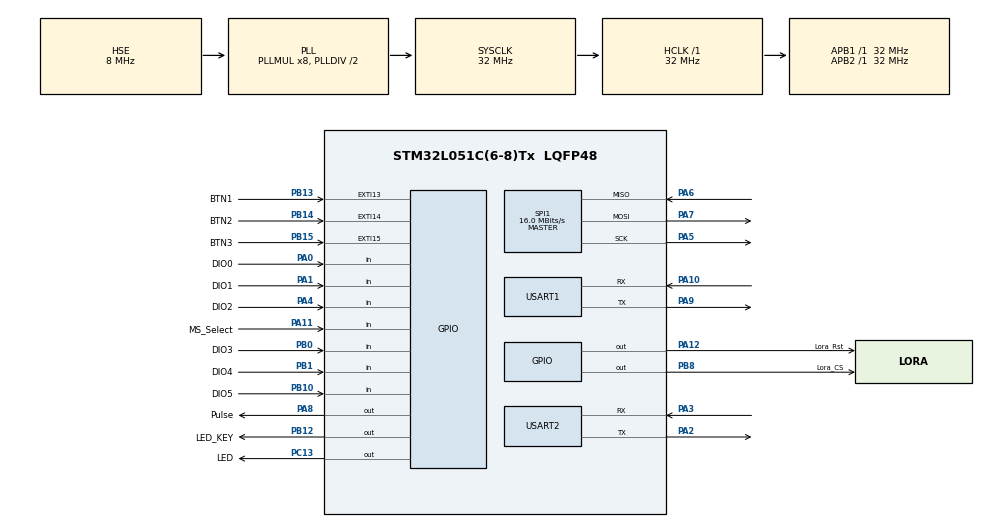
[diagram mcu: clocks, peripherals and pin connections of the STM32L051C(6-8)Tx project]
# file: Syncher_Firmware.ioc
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Mcu.Family=STM32L0
Mcu.Name=STM32L051C(6-8)Tx
Mcu.Package=LQFP48
NVIC.EXTI4_15_IRQn=true\:0\:0\:false\:false\:true\:true\:true\:true
NVIC.TIM21_IRQn=true\:0\:0\:true\:false\:true\:false\:true\:true
NVIC.TIM22_IRQn=true\:0\:0\:false\:false\:true\:true\:true\:true
NVIC.TIM2_IRQn=true\:1\:0\:true\:false\:true\:true\:true\:true
NVIC.TimeBase=TIM21_IRQn
NVIC.TimeBaseIP=TIM21
PA0.GPIO_Label=DIO0
PA0.Signal=GPIO_Input
PA1.GPIO_Label=DIO1
PA1.Signal=GPIO_Input
PA10.Mode=Asynchronous
PA10.Signal=USART1_RX
PA11.GPIO_Label=MS_Select
PA11.GPIO_PuPd=GPIO_PULLUP
PA11.Signal=GPIO_Input
PA12.GPIO_Label=Lora_Rst
PA12.GPIO_PuPd=GPIO_PULLUP
PA12.GPIO_Speed=GPIO_SPEED_FREQ_VERY_HIGH
PA12.PinState=GPIO_PIN_SET
PA12.Signal=GPIO_Output
PA13.Mode=Serial_Wire
PA13.Signal=SYS_SWDIO
PA14.Mode=Serial_Wire
PA14.Signal=SYS_SWCLK
PA2.Mode=Asynchronous
PA2.Signal=USART2_TX
PA3.Mode=Asynchronous
PA3.Signal=USART2_RX
PA4.GPIO_Label=DIO2
PA4.Signal=GPIO_Input
PA5.Mode=Full_Duplex_Master
PA5.Signal=SPI1_SCK
PA6.Mode=Full_Duplex_Master
PA6.Signal=SPI1_MISO
PA7.Mode=Full_Duplex_Master
PA7.Signal=SPI1_MOSI
PA8.GPIO_Label=Pulse
PA8.GPIO_ModeDefaultOutputPP=GPIO_MODE_OUTPUT_PP
PA8.GPIO_PuPd=GPIO_PULLUP
PA8.GPIO_Speed=GPIO_SPEED_FREQ_VERY_HIGH
PA8.Signal=GPIO_Output
PA9.Mode=Asynchronous
PA9.Signal=USART1_TX
PB0.GPIO_Label=DIO3
PB0.Signal=GPIO_Input
PB1.GPIO_Label=DIO4
PB1.Signal=GPIO_Input
PB10.GPIO_Label=DIO5
PB10.Signal=GPIO_Input
PB12.GPIO_Label=LED_KEY
PB12.GPIO_PuPd=GPIO_PULLDOWN
PB12.GPIO_Speed=GPIO_SPEED_FREQ_VERY_HIGH
PB12.PinState=GPIO_PIN_RESET
PB12.Signal=GPIO_Output
PB13.GPIO_Label=BTN1
PB13.GPIO_ModeDefaultEXTI=GPIO_MODE_IT_RISING_FALLING
PB13.GPIO_PuPd=GPIO_PULLUP
PB13.Signal=GPXTI13
PB14.GPIO_Label=BTN2
PB14.GPIO_ModeDefaultEXTI=GPIO_MODE_IT_RISING_FALLING
PB14.GPIO_PuPd=GPIO_PULLUP
PB14.Signal=GPXTI14
PB15.GPIO_Label=BTN3
PB15.GPIO_ModeDefaultEXTI=GPIO_MODE_IT_RISING_FALLING
PB15.GPIO_PuPd=GPIO_PULLUP
PB15.Signal=GPXTI15
PB8.GPIO_Label=Lora_CS
PB8.GPIO_PuPd=GPIO_PULLUP
PB8.GPIO_Speed=GPIO_SPEED_FREQ_VERY_HIGH
PB8.PinState=GPIO_PIN_SET
PB8.Signal=GPIO_Output
PC13.GPIO_Label=LED
PC13.Signal=GPIO_Output
PH0-OSC_IN.Mode=HSE-External-Oscillator
PH0-OSC_IN.Signal=RCC_OSC_IN
PH1-OSC_OUT.Mode=HSE-External-Oscillator
PH1-OSC_OUT.Signal=RCC_OSC_OUT
ProjectManager.HeapSize=0x200
ProjectManager.StackSize=0x400
ProjectManager.TargetToolchain=MDK-ARM V5
RCC.AHBFreq_Value=32000000
RCC.APB1Freq_Value=32000000
RCC.APB1TimFreq_Value=32000000
RCC.APB2Freq_Value=32000000
RCC.APB2TimFreq_Value=32000000
RCC.HCLKFreq_Value=32000000
RCC.HSE_VALUE=8000000
RCC.HSI16_VALUE=16000000
RCC.HSI_VALUE=16000000
RCC.LSE_VALUE=32768
RCC.MSI_VALUE=2097000
RCC.PLLMUL=RCC_PLLMUL_8
RCC.PLLSourceVirtual=RCC_PLLSOURCE_HSE
RCC.SYSCLKFreq_VALUE=32000000
RCC.SYSCLKSource=RCC_SYSCLKSOURCE_PLLCLK
RCC.VCOOutputFreq_Value=64000000
SPI1.CalculateBaudRate=16.0 MBits/s
SPI1.Direction=SPI_DIRECTION_2LINES
SPI1.Mode=SPI_MODE_MASTER
SPI1.VirtualType=VM_MASTER
TIM2.AutoReloadPreload=TIM_AUTORELOAD_PRELOAD_DISABLE
TIM2.Period=31999
TIM2.Prescaler=9
TIM22.Period=15999
TIM22.Prescaler=99
USART1.VirtualMode-Asynchronous=VM_ASYNC
USART2.VirtualMode-Asynchronous=VM_ASYNC
VP_SYS_VS_tim21.Mode=TIM21
VP_TIM22_VS_ClockSourceINT.Mode=Internal
VP_TIM2_VS_ClockSourceINT.Mode=Internal
board=custom

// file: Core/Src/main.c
/* USER CODE BEGIN Header */
/**
  ******************************************************************************
  * @file           : main.c
  * @brief          : Main program body
  ******************************************************************************
  * @attention
  *
  * Copyright (c) 2022 STMicroelectronics.
  * All rights reserved.
  *
  * This software is licensed under terms that can be found in the LICENSE file
  * in the root directory of this software component.
  * If no LICENSE file comes with this software, it is provided AS-IS.
  *
  ******************************************************************************
  */
/* USER CODE END Header */
#include "main.h"

/* USER CODE BEGIN Includes */
#include <string.h>
#include <stdint.h>
#include <stdbool.h>
#include "sx127x_driver.h"
#include "stm32l0xx_it.h"
#include <stdlib.h>
#include <string.h>
#include <stdio.h>

/* USER CODE END Includes */

/* USER CODE BEGIN PTD */

typedef enum master_state{
    M_IDLE = 0,
    M_TRIGGING,
    M_DONE,
}MASTER_STATE;

/* USER CODE END PTD */

/* USER CODE BEGIN PD */

// 选择是否自动循环触发
//#define MODE_LOOP
#define LOOP_TIME_MS 2000

#define LEN_TXBUF 128
#define LEN_RXBUF 128

/* USER CODE END PD */

SPI_HandleTypeDef hspi1;

TIM_HandleTypeDef htim2;
TIM_HandleTypeDef htim22;

UART_HandleTypeDef huart1;
UART_HandleTypeDef huart2;

/* USER CODE BEGIN PV */

MASTER_STATE MasterState = M_IDLE;

extern __IO uint32_t uwTick;
uint8_t pulse_cnt = 0;
uint8_t pulse_max = 8;

extern volatile uint32_t uwTick;

volatile uint8_t flag;//���ݽ����ı�־λ������ʱtag=1

u8 txBuf1[LEN_TXBUF];
u8 rxBuf[LEN_RXBUF];

uint16_t Prescal_list[] = {500,1000,2000,5000,10000};

volatile u32 MasterDelayMs = 27;
volatile u32 MasterDelayUs = 50;

extern tRadioDriver g_Radio;

/* USER CODE END PV */

void SystemClock_Config(void);
static void MX_GPIO_Init(void);
static void MX_SPI1_Init(void);
static void MX_USART1_UART_Init(void);
static void MX_USART2_UART_Init(void);
static void MX_TIM22_Init(void);
static void MX_TIM2_Init(void);

/* USER CODE BEGIN PFP */
int Key_timer_cb(void);

/* USER CODE END PFP */

/* USER CODE BEGIN 0 */

//void HAL_UART_RxCpltCallback(UART_HandleTypeDef *huart)
//{
//  /* Prevent unused argument(s) compilation warning */
//  UNUSED(huart);
//	if(huart == &huart1){
//		//HAL_UART_Receive_IT(&huart1, (uint8_t *)rxBuf1, SENSOR_BYTE);
//		read_over = 1;
//	}
////	else if(huart == &huart2){
////		HAL_UART_Transmit(&huart2, (uint8_t *)rxBuf2, strlen(txBuf2), 0xffff);
////		memset(rxBuf2,0, strlen(txBuf1));
////		HAL_UART_Receive_IT(&huart2, (uint8_t *)rxBuf2, 10);
////	}
//}
void delay_0(void){
	u32 i=0;
	u32 j=0;

	for(i=0;i<1000;i++){
		for(j=0;j<1000;j++){
		}
	}
}

void delay_us(u32 time){
	u32 i=0;
	u32 j=0;

	for(i=0;i<time;i++){
		for(j=0;j<1000;j++){
		}
	}
}

void delayMsBySystick(uint32_t timeoutMs){
	uint32_t systickBak,currTick;
	systickBak = GetTick();
	while(1){
		currTick=GetTick();
		if(currTick>=systickBak){
			if(currTick-systickBak>timeoutMs){
				return;
			}
		}else{
			//currTick 溢出
			if(currTick+(~systickBak)>timeoutMs){
				return;
			}
		}
	}
}

void MasterDelayMsAdd(void)
{
    MasterDelayMs++;
}
void MasterDelayMsMinus(void)
{
    if(MasterDelayMs > 0)
    {
        MasterDelayMs--;
    }
}

bool GetMSMode(void)
{
    // M/S mode confirm: read GPIO value
    // GPIO_PIN_SET -> op_mode true -> Master
    return (GPIO_PIN_SET == HAL_GPIO_ReadPin(MS_Select_GPIO_Port, MS_Select_Pin));
}

void SetKeyLED(bool val)
{
    HAL_GPIO_WritePin(LED_KEY_GPIO_Port, LED_KEY_Pin, val?GPIO_PIN_SET:GPIO_PIN_RESET);
}

void toggle_led(void)
{
	HAL_GPIO_TogglePin(LED_GPIO_Port, LED_Pin);
}
void tri_mmwave(void)
{
    int i = 0;

    // 产生�?个正脉冲
//            HAL_GPIO_TogglePin(LED_GPIO_Port, LED_Pin);
	HAL_GPIO_WritePin(Pulse_GPIO_Port, Pulse_Pin,GPIO_PIN_SET);
//    GPIO_TypeDef * GPIOx = Pulse_GPIO_Port;
//    GPIOx->BSRR = Pulse_Pin;

    // 控制高电平时间
//	while(i < 1)
    { //delay
        i = i+1;
        i = i+1;
        i = i+1;
        i = i+1;
    }
	HAL_GPIO_WritePin(Pulse_GPIO_Port, Pulse_Pin,GPIO_PIN_RESET);
//    GPIOx->BRR = Pulse_Pin ;

	pulse_cnt++;

    // Slaver Passive trig timer reset and start
    HAL_TIM_Base_Stop_IT(&htim22);
    HAL_TIM_Base_Start_IT(&htim22);
}

// 按键 IO 边沿触发中断，重置定时器延迟获取按键状�??
void HAL_GPIO_EXTI_Callback(uint16_t GPIO_Pin)
{
    HAL_TIM_Base_Stop_IT(&htim2);
	HAL_TIM_Base_Start_IT(&htim2);
}

void SendTrigPkg(void)
{
//    u16 i=0; // for debug

    MasterState = M_TRIGGING;
    HAL_GPIO_TogglePin(LED_GPIO_Port, LED_Pin);
    if(0 == sx127xSend((uint8_t *)"t",strlen("t"),1000))
    {
        HAL_GPIO_TogglePin(LED_GPIO_Port, LED_Pin);
//        toggle_led();
    }else
    {
//        i = 2;
//        DEBUG("send timeout\r\n");
    }

    // trig pulse timer
    delayMsBySystick(MasterDelayMs);
    delay_us(MasterDelayUs);
//    HAL_TIM_Base_Start_IT(&htim22);
    tri_mmwave();
}

// 对按下的按键执行响应动作
int Key_handle(uint32_t key)
{
//    static uint8_t prelist_cnt = 0;
    if(key == BTN1_Pin){
        SendTrigPkg();

    }

    if(key == BTN2_Pin){
//        MasterDelayMsAdd();
//        MasterDelayMsMinus();

    }

    if(key == BTN3_Pin){
//        MasterDelayMsAdd();
//        MasterDelayMsMinus();

    }

    return 0;
}

int Key_timer_cb(void)
{
    HAL_TIM_Base_Stop_IT(&htim2);
    // 依次判断哪个按键按下
    if(0 == HAL_GPIO_ReadPin(BTN1_GPIO_Port, BTN1_Pin))
    {

//        HAL_GPIO_TogglePin(LED_KEY_GPIO_Port, LED_KEY_Pin);
        HAL_GPIO_WritePin(LED_KEY_GPIO_Port, LED_KEY_Pin,GPIO_PIN_RESET);
//        toggle_led();
        Key_handle(BTN1_Pin);

    }
    else if(0 == HAL_GPIO_ReadPin(BTN2_GPIO_Port, BTN2_Pin))
    {

        toggle_led();
        Key_handle(BTN2_Pin);

    }
    else if(0 == HAL_GPIO_ReadPin(BTN3_GPIO_Port, BTN3_Pin))
    {

        toggle_led();
        Key_handle(BTN3_Pin);
    }

    return 0;
}

void OnSlave( void )
{
    u8 ret, rxCount=255;
    while (1)
    {
        rxCount = 255;
//      memset(rxBuf,0,LEN_RXBUF);
        ret = sx127xRx(rxBuf,&rxCount,2000);
        switch(ret){
            case 0:
                toggle_led();
                if((rxBuf[0]=='t') && (rxCount != 255))
                {
                    // Slaver 立即触发
                    tri_mmwave();
                    //HAL_UART_Transmit(&huart1, (uint8_t *)rxBuf1, strlen(rxBuf1), 0xffff);
//                  toggle_led();

                }

                break;
            case 1:
            case 2:
//                  DEBUG("rx timeout ret:%d\r\n",u8_ret);
                break;
            default:
//                  DEBUG("unknow ret:%d\r\n",u8_ret);
                break;
        }
    }
}
/*
 * Manages the master operation (board on the plane).
 */
void OnMaster( void )
{
    while(1)
    {
#ifdef MODE_LOOP
        if(MasterState == M_DONE)
        {
            MasterState = M_TRIGGING;
            delayMsBySystick(LOOP_TIME_MS);
            SendTrigPkg();
        }
#endif
    };

}

/* USER CODE END 0 */

int main(void)
{
  /* USER CODE BEGIN 1 */
	bool op_mode = false;
  /* USER CODE END 1 */

  /* MCU Configuration--------------------------------------------------------*/

  /* Reset of all peripherals, Initializes the Flash interface and the Systick. */
  HAL_Init();

  /* Configure the system clock */
  SystemClock_Config();

  /* Initialize all configured peripherals */
  MX_GPIO_Init();
  MX_SPI1_Init();
  MX_USART1_UART_Init();
  MX_USART2_UART_Init();
  MX_TIM22_Init();
  MX_TIM2_Init();
  /* USER CODE BEGIN 2 */
//	HAL_UART_Transmit(&huart1, (uint8_t *)txBuf1, strlen(txBuf1), 0xffff);
//	HAL_UART_Transmit(&huart2, (uint8_t *)txBuf2, strlen(txBuf2), 0xffff);
//	HAL_UART_Receive_IT(&huart1, (uint8_t *)rxBuf1, SENSOR_BYTE);
//	HAL_UART_Receive_IT(&huart2, (uint8_t *)rxBuf2, 10);

    // radio init
    //435M, 20dbm, 125kHz, SF=12, 4/5,0x0005
    tLoRaSettings setting={435000000,20,7,12,1,0x0005};
    g_Radio.Init(&setting);

    // M/S mode confirm: read GPIO value
    // GPIO_PIN_SET -> op_mode == true -> Master
    op_mode = GetMSMode();

    // 按键灯标识主从
    SetKeyLED(op_mode);

    if(op_mode)
   {
        //master
        OnMaster();
	}
    else
    {
		//slave
        OnSlave();
	}

  /* USER CODE END 2 */

  /* Infinite loop */
    while (1)
    {

    }
}

void SystemClock_Config(void)
{
  RCC_OscInitTypeDef RCC_OscInitStruct = {0};
  RCC_ClkInitTypeDef RCC_ClkInitStruct = {0};
  RCC_PeriphCLKInitTypeDef PeriphClkInit = {0};

  /** Configure the main internal regulator output voltage
  */
  __HAL_PWR_VOLTAGESCALING_CONFIG(PWR_REGULATOR_VOLTAGE_SCALE1);

  /** Initializes the RCC Oscillators according to the specified parameters
  * in the RCC_OscInitTypeDef structure.
  */
  RCC_OscInitStruct.OscillatorType = RCC_OSCILLATORTYPE_HSE;
  RCC_OscInitStruct.HSEState = RCC_HSE_ON;
  RCC_OscInitStruct.PLL.PLLState = RCC_PLL_ON;
  RCC_OscInitStruct.PLL.PLLSource = RCC_PLLSOURCE_HSE;
  RCC_OscInitStruct.PLL.PLLMUL = RCC_PLLMUL_8;
  RCC_OscInitStruct.PLL.PLLDIV = RCC_PLLDIV_2;
  if (HAL_RCC_OscConfig(&RCC_OscInitStruct) != HAL_OK)
  {
    Error_Handler();
  }

  /** Initializes the CPU, AHB and APB buses clocks
  */
  RCC_ClkInitStruct.ClockType = RCC_CLOCKTYPE_HCLK|RCC_CLOCKTYPE_SYSCLK
                              |RCC_CLOCKTYPE_PCLK1|RCC_CLOCKTYPE_PCLK2;
  RCC_ClkInitStruct.SYSCLKSource = RCC_SYSCLKSOURCE_PLLCLK;
  RCC_ClkInitStruct.AHBCLKDivider = RCC_SYSCLK_DIV1;
  RCC_ClkInitStruct.APB1CLKDivider = RCC_HCLK_DIV1;
  RCC_ClkInitStruct.APB2CLKDivider = RCC_HCLK_DIV1;

  if (HAL_RCC_ClockConfig(&RCC_ClkInitStruct, FLASH_LATENCY_1) != HAL_OK)
  {
    Error_Handler();
  }
  PeriphClkInit.PeriphClockSelection = RCC_PERIPHCLK_USART1|RCC_PERIPHCLK_USART2;
  PeriphClkInit.Usart1ClockSelection = RCC_USART1CLKSOURCE_PCLK2;
  PeriphClkInit.Usart2ClockSelection = RCC_USART2CLKSOURCE_PCLK1;
  if (HAL_RCCEx_PeriphCLKConfig(&PeriphClkInit) != HAL_OK)
  {
    Error_Handler();
  }
}

static void MX_SPI1_Init(void)
{

  /* SPI1 parameter configuration*/
  hspi1.Instance = SPI1;
  hspi1.Init.Mode = SPI_MODE_MASTER;
  hspi1.Init.Direction = SPI_DIRECTION_2LINES;
  hspi1.Init.DataSize = SPI_DATASIZE_8BIT;
  hspi1.Init.CLKPolarity = SPI_POLARITY_LOW;
  hspi1.Init.CLKPhase = SPI_PHASE_1EDGE;
  hspi1.Init.NSS = SPI_NSS_SOFT;
  hspi1.Init.BaudRatePrescaler = SPI_BAUDRATEPRESCALER_2;
  hspi1.Init.FirstBit = SPI_FIRSTBIT_MSB;
  hspi1.Init.TIMode = SPI_TIMODE_DISABLE;
  hspi1.Init.CRCCalculation = SPI_CRCCALCULATION_DISABLE;
  hspi1.Init.CRCPolynomial = 7;
  if (HAL_SPI_Init(&hspi1) != HAL_OK)
  {
    Error_Handler();
  }

}

static void MX_TIM2_Init(void)
{

  TIM_ClockConfigTypeDef sClockSourceConfig = {0};
  TIM_MasterConfigTypeDef sMasterConfig = {0};

  htim2.Instance = TIM2;
  htim2.Init.Prescaler = 9;
  htim2.Init.CounterMode = TIM_COUNTERMODE_UP;
  htim2.Init.Period = 31999;
  htim2.Init.ClockDivision = TIM_CLOCKDIVISION_DIV1;
  htim2.Init.AutoReloadPreload = TIM_AUTORELOAD_PRELOAD_DISABLE;
  if (HAL_TIM_Base_Init(&htim2) != HAL_OK)
  {
    Error_Handler();
  }
  sClockSourceConfig.ClockSource = TIM_CLOCKSOURCE_INTERNAL;
  if (HAL_TIM_ConfigClockSource(&htim2, &sClockSourceConfig) != HAL_OK)
  {
    Error_Handler();
  }
  sMasterConfig.MasterOutputTrigger = TIM_TRGO_RESET;
  sMasterConfig.MasterSlaveMode = TIM_MASTERSLAVEMODE_DISABLE;
  if (HAL_TIMEx_MasterConfigSynchronization(&htim2, &sMasterConfig) != HAL_OK)
  {
    Error_Handler();
  }

}

static void MX_TIM22_Init(void)
{

  TIM_ClockConfigTypeDef sClockSourceConfig = {0};
  TIM_MasterConfigTypeDef sMasterConfig = {0};

  htim22.Instance = TIM22;
  htim22.Init.Prescaler = 99;
  htim22.Init.CounterMode = TIM_COUNTERMODE_UP;
  htim22.Init.Period = 15999;
  htim22.Init.ClockDivision = TIM_CLOCKDIVISION_DIV1;
  htim22.Init.AutoReloadPreload = TIM_AUTORELOAD_PRELOAD_DISABLE;
  if (HAL_TIM_Base_Init(&htim22) != HAL_OK)
  {
    Error_Handler();
  }
  sClockSourceConfig.ClockSource = TIM_CLOCKSOURCE_INTERNAL;
  if (HAL_TIM_ConfigClockSource(&htim22, &sClockSourceConfig) != HAL_OK)
  {
    Error_Handler();
  }
  sMasterConfig.MasterOutputTrigger = TIM_TRGO_RESET;
  sMasterConfig.MasterSlaveMode = TIM_MASTERSLAVEMODE_DISABLE;
  if (HAL_TIMEx_MasterConfigSynchronization(&htim22, &sMasterConfig) != HAL_OK)
  {
    Error_Handler();
  }

}

static void MX_USART1_UART_Init(void)
{

  huart1.Instance = USART1;
  huart1.Init.BaudRate = 115200;
  huart1.Init.WordLength = UART_WORDLENGTH_8B;
  huart1.Init.StopBits = UART_STOPBITS_1;
  huart1.Init.Parity = UART_PARITY_NONE;
  huart1.Init.Mode = UART_MODE_TX_RX;
  huart1.Init.HwFlowCtl = UART_HWCONTROL_NONE;
  huart1.Init.OverSampling = UART_OVERSAMPLING_16;
  huart1.Init.OneBitSampling = UART_ONE_BIT_SAMPLE_DISABLE;
  huart1.AdvancedInit.AdvFeatureInit = UART_ADVFEATURE_NO_INIT;
  if (HAL_UART_Init(&huart1) != HAL_OK)
  {
    Error_Handler();
  }

}

static void MX_USART2_UART_Init(void)
{

  huart2.Instance = USART2;
  huart2.Init.BaudRate = 115200;
  huart2.Init.WordLength = UART_WORDLENGTH_8B;
  huart2.Init.StopBits = UART_STOPBITS_1;
  huart2.Init.Parity = UART_PARITY_NONE;
  huart2.Init.Mode = UART_MODE_TX_RX;
  huart2.Init.HwFlowCtl = UART_HWCONTROL_NONE;
  huart2.Init.OverSampling = UART_OVERSAMPLING_16;
  huart2.Init.OneBitSampling = UART_ONE_BIT_SAMPLE_DISABLE;
  huart2.AdvancedInit.AdvFeatureInit = UART_ADVFEATURE_NO_INIT;
  if (HAL_UART_Init(&huart2) != HAL_OK)
  {
    Error_Handler();
  }

}

static void MX_GPIO_Init(void)
{
  GPIO_InitTypeDef GPIO_InitStruct = {0};

  /* GPIO Ports Clock Enable */
  __HAL_RCC_GPIOC_CLK_ENABLE();
  __HAL_RCC_GPIOH_CLK_ENABLE();
  __HAL_RCC_GPIOA_CLK_ENABLE();
  __HAL_RCC_GPIOB_CLK_ENABLE();

  /*Configure GPIO pin Output Level */
  HAL_GPIO_WritePin(LED_GPIO_Port, LED_Pin, GPIO_PIN_RESET);

  /*Configure GPIO pin Output Level */
  HAL_GPIO_WritePin(LED_KEY_GPIO_Port, LED_KEY_Pin, GPIO_PIN_RESET);

  /*Configure GPIO pin Output Level */
  HAL_GPIO_WritePin(Pulse_GPIO_Port, Pulse_Pin, GPIO_PIN_RESET);

  /*Configure GPIO pin Output Level */
  HAL_GPIO_WritePin(Lora_Rst_GPIO_Port, Lora_Rst_Pin, GPIO_PIN_SET);

  /*Configure GPIO pin Output Level */
  HAL_GPIO_WritePin(Lora_CS_GPIO_Port, Lora_CS_Pin, GPIO_PIN_SET);

  /*Configure GPIO pin : LED_Pin */
  GPIO_InitStruct.Pin = LED_Pin;
  GPIO_InitStruct.Mode = GPIO_MODE_OUTPUT_PP;
  GPIO_InitStruct.Pull = GPIO_NOPULL;
  GPIO_InitStruct.Speed = GPIO_SPEED_FREQ_LOW;
  HAL_GPIO_Init(LED_GPIO_Port, &GPIO_InitStruct);

  /*Configure GPIO pins : DIO0_Pin DIO1_Pin DIO2_Pin */
  GPIO_InitStruct.Pin = DIO0_Pin|DIO1_Pin|DIO2_Pin;
  GPIO_InitStruct.Mode = GPIO_MODE_INPUT;
  GPIO_InitStruct.Pull = GPIO_NOPULL;
  HAL_GPIO_Init(GPIOA, &GPIO_InitStruct);

  /*Configure GPIO pins : DIO3_Pin DIO4_Pin DIO5_Pin */
  GPIO_InitStruct.Pin = DIO3_Pin|DIO4_Pin|DIO5_Pin;
  GPIO_InitStruct.Mode = GPIO_MODE_INPUT;
  GPIO_InitStruct.Pull = GPIO_NOPULL;
  HAL_GPIO_Init(GPIOB, &GPIO_InitStruct);

  /*Configure GPIO pin : LED_KEY_Pin */
  GPIO_InitStruct.Pin = LED_KEY_Pin;
  GPIO_InitStruct.Mode = GPIO_MODE_OUTPUT_PP;
  GPIO_InitStruct.Pull = GPIO_PULLDOWN;
  GPIO_InitStruct.Speed = GPIO_SPEED_FREQ_VERY_HIGH;
  HAL_GPIO_Init(LED_KEY_GPIO_Port, &GPIO_InitStruct);

  /*Configure GPIO pins : BTN1_Pin BTN2_Pin BTN3_Pin */
  GPIO_InitStruct.Pin = BTN1_Pin|BTN2_Pin|BTN3_Pin;
  GPIO_InitStruct.Mode = GPIO_MODE_IT_RISING_FALLING;
  GPIO_InitStruct.Pull = GPIO_PULLUP;
  HAL_GPIO_Init(GPIOB, &GPIO_InitStruct);

  /*Configure GPIO pins : Pulse_Pin Lora_Rst_Pin */
  GPIO_InitStruct.Pin = Pulse_Pin|Lora_Rst_Pin;
  GPIO_InitStruct.Mode = GPIO_MODE_OUTPUT_PP;
  GPIO_InitStruct.Pull = GPIO_PULLUP;
  GPIO_InitStruct.Speed = GPIO_SPEED_FREQ_VERY_HIGH;
  HAL_GPIO_Init(GPIOA, &GPIO_InitStruct);

  /*Configure GPIO pin : MS_Select_Pin */
  GPIO_InitStruct.Pin = MS_Select_Pin;
  GPIO_InitStruct.Mode = GPIO_MODE_INPUT;
  GPIO_InitStruct.Pull = GPIO_PULLUP;
  HAL_GPIO_Init(MS_Select_GPIO_Port, &GPIO_InitStruct);

  /*Configure GPIO pin : Lora_CS_Pin */
  GPIO_InitStruct.Pin = Lora_CS_Pin;
  GPIO_InitStruct.Mode = GPIO_MODE_OUTPUT_PP;
  GPIO_InitStruct.Pull = GPIO_PULLUP;
  GPIO_InitStruct.Speed = GPIO_SPEED_FREQ_VERY_HIGH;
  HAL_GPIO_Init(Lora_CS_GPIO_Port, &GPIO_InitStruct);

  /* EXTI interrupt init*/
  HAL_NVIC_SetPriority(EXTI4_15_IRQn, 0, 0);
  HAL_NVIC_EnableIRQ(EXTI4_15_IRQn);

}

void HAL_TIM_PeriodElapsedCallback(TIM_HandleTypeDef *htim)
{
  if (htim->Instance == TIM21) {
    HAL_IncTick();
  }
  /* USER CODE BEGIN Callback 1 */
      if (htim->Instance == TIM22)
        {
            if(pulse_cnt < pulse_max)
            {
                int i = 0;

                // 产生�?个正脉冲
                //            HAL_GPIO_TogglePin(LED_GPIO_Port, LED_Pin);
                HAL_GPIO_WritePin(Pulse_GPIO_Port, Pulse_Pin,GPIO_PIN_SET);
//                GPIO_TypeDef * GPIOx = Pulse_GPIO_Port;
//                GPIOx->BSRR = Pulse_Pin;

                // 控制高电平时�?
//                while(i < 1)
                { //delay
                    i = i+1;
                    i = i+1;
                    i = i+1;
                    i = i+1;

                }
                HAL_GPIO_WritePin(Pulse_GPIO_Port, Pulse_Pin,GPIO_PIN_RESET);
//                GPIOx->BRR = Pulse_Pin ;

                pulse_cnt++;

            }
            else
            {
                pulse_cnt = 0;
                HAL_TIM_Base_Stop_IT(&htim22);
                HAL_GPIO_WritePin(LED_KEY_GPIO_Port, LED_KEY_Pin,GPIO_PIN_SET);
                MasterState = M_DONE;
            }
    	}
    else if(htim->Instance == TIM2)
    {
        Key_timer_cb();
    }

  /* USER CODE END Callback 1 */
}

void Error_Handler(void)
{
  __disable_irq();
  while (1)
  {
  }
}
